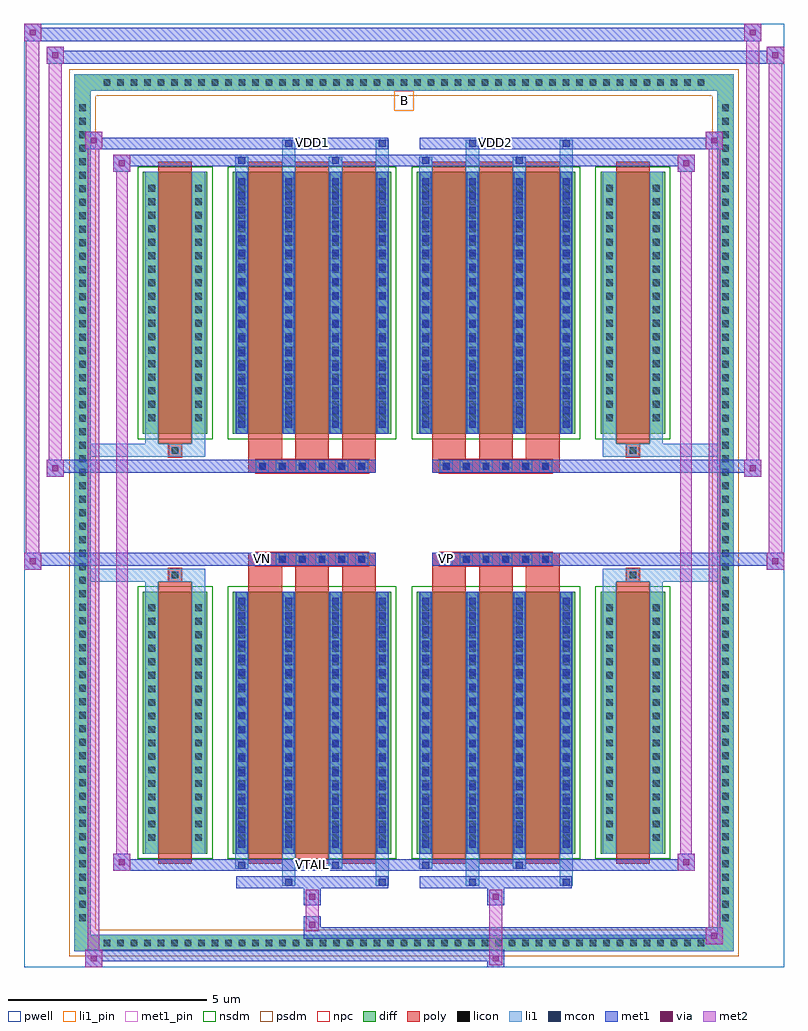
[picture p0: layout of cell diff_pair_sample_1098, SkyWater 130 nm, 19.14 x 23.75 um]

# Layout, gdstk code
import gdstk
lib = gdstk.Library(unit=1e-6, precision=5e-09)
def R(c, l, rs):  # rectangles x0, y0, x1, y1
    for r in rs: c.add(gdstk.rectangle(r[:2], r[2:], *l))
def A(c, l, x, y, w, h, nx, ny, dx, dy):  # array of equal rectangles
    R(c, l, [(x+i*dx, y+j*dy, x+i*dx+w, y+j*dy+h) for i in range(nx) for j in range(ny)])
def P(c, l, *ps):  # polygons
    for p in ps: c.add(gdstk.Polygon(p, *l))
pwell = (64, 44)
diff = (65, 20)
poly = (66, 20)
licon = (66, 44)
li1_pin = (67, 16)
li1 = (67, 20)
mcon = (67, 44)
met1_pin = (68, 16)
met1 = (68, 20)
via = (68, 44)
met2 = (69, 20)
nsdm = (93, 44)
psdm = (94, 20)
npc = (95, 20)

diff_pair_sample_1098 = lib.new_cell('diff_pair_sample_1098')
R(diff_pair_sample_1098, pwell, [(-9.57,-11.44,9.57,12.31), (-6.89,-9.63,-0.01,-0.805), (0.01,-9.63,6.89,-0.805), (-6.89,0.805,-0.01,9.63), (0.01,0.805,6.89,9.63)])
A(diff_pair_sample_1098, diff, -7.685, -11.04, 0.41, 0.41, 45, 2, 0.34, 21.67)
A(diff_pair_sample_1098, diff, -8.3, -10.405, 0.41, 0.41, 1, 61, 0, 0.34)
A(diff_pair_sample_1098, diff, 7.89, -10.405, 0.41, 0.41, 1, 61, 0, 0.34)
R(diff_pair_sample_1098, diff, [(-7.685,-11.04,7.685,-10.63), (-8.3,-10.405,-7.89,10.405), (7.89,-10.405,8.3,10.405), (-6.58,-8.585,-4.95,-1.985), (-4.31,-8.585,-0.32,-1.985), (0.32,-8.585,4.31,-1.985), (4.95,-8.585,6.58,-1.985), (-6.58,1.985,-4.95,8.585), (-4.31,1.985,-0.32,8.585), (0.32,1.985,4.31,8.585), (4.95,1.985,6.58,8.585), (-7.685,10.63,7.685,11.04)])
P(diff_pair_sample_1098, diff, [(8.3,11.04),(-8.3,11.04),(-8.3,-10.63),(-7.89,-10.63),(-7.89,10.63),(7.89,10.63),(7.89,-10.63),(-7.89,-10.63),(-8.3,-10.63),(-8.3,-11.04),(8.3,-11.04)])
A(diff_pair_sample_1098, poly, -3.92, -8.835, 0.85, 7.1, 3, 2, 1.18, 10.57)
A(diff_pair_sample_1098, poly, 0.71, -8.835, 0.85, 7.1, 3, 2, 1.18, 10.57)
A(diff_pair_sample_1098, poly, -3.92, -1.735, 0.85, 0.4, 3, 2, 1.18, 3.07)
A(diff_pair_sample_1098, poly, 0.71, -1.735, 0.85, 0.4, 3, 2, 1.18, 3.07)
A(diff_pair_sample_1098, poly, -3.73, -1.335, 0.33, 0.33, 6, 2, 0.5, 2.34)
A(diff_pair_sample_1098, poly, 0.9, -1.335, 0.33, 0.33, 6, 2, 0.5, 2.34)
R(diff_pair_sample_1098, poly, [(-6.19,-8.835,-5.34,-1.735), (5.34,-8.835,6.19,-1.735), (-5.93,-1.735,-5.6,-1.405), (-5.93,-1.735,-5.6,-1.405), (5.6,-1.735,5.93,-1.405), (5.6,-1.735,5.93,-1.405), (-3.92,-1.335,-0.71,-1.005), (0.71,-1.335,3.92,-1.005), (-3.92,1.005,-0.71,1.335), (0.71,1.005,3.92,1.335), (-5.93,1.405,-5.6,1.735), (-5.93,1.405,-5.6,1.735), (5.6,1.405,5.93,1.735), (5.6,1.405,5.93,1.735), (-6.19,1.735,-5.34,8.835), (5.34,1.735,6.19,8.835)])
A(diff_pair_sample_1098, licon, -7.565, -10.92, 0.17, 0.17, 45, 2, 0.34, 21.67)
A(diff_pair_sample_1098, licon, -8.18, -10.285, 0.17, 0.17, 1, 61, 0, 0.34)
A(diff_pair_sample_1098, licon, 8.01, -10.285, 0.17, 0.17, 1, 61, 0, 0.34)
A(diff_pair_sample_1098, licon, -6.44, -8.26, 0.17, 0.17, 1, 18, 0, 0.34)
A(diff_pair_sample_1098, licon, -5.26, -8.26, 0.17, 0.17, 1, 18, 0, 0.34)
A(diff_pair_sample_1098, licon, -4.17, -8.26, 0.17, 0.17, 4, 18, 1.18, 0.34)
A(diff_pair_sample_1098, licon, 0.46, -8.26, 0.17, 0.17, 4, 18, 1.18, 0.34)
A(diff_pair_sample_1098, licon, 5.09, -8.26, 0.17, 0.17, 1, 18, 0, 0.34)
A(diff_pair_sample_1098, licon, 6.27, -8.26, 0.17, 0.17, 1, 18, 0, 0.34)
A(diff_pair_sample_1098, licon, -3.65, -1.255, 0.17, 0.17, 6, 2, 0.5, 2.34)
A(diff_pair_sample_1098, licon, 0.98, -1.255, 0.17, 0.17, 6, 2, 0.5, 2.34)
A(diff_pair_sample_1098, licon, -6.44, 2.31, 0.17, 0.17, 1, 18, 0, 0.34)
A(diff_pair_sample_1098, licon, -5.26, 2.31, 0.17, 0.17, 1, 18, 0, 0.34)
A(diff_pair_sample_1098, licon, -4.17, 2.31, 0.17, 0.17, 4, 18, 1.18, 0.34)
A(diff_pair_sample_1098, licon, 0.46, 2.31, 0.17, 0.17, 4, 18, 1.18, 0.34)
A(diff_pair_sample_1098, licon, 5.09, 2.31, 0.17, 0.17, 1, 18, 0, 0.34)
A(diff_pair_sample_1098, licon, 6.27, 2.31, 0.17, 0.17, 1, 18, 0, 0.34)
R(diff_pair_sample_1098, licon, [(-5.85,-1.655,-5.68,-1.485), (5.68,-1.655,5.85,-1.485), (-5.85,1.485,-5.68,1.655), (5.68,1.485,5.85,1.655)])
R(diff_pair_sample_1098, li1_pin, [(-0.25,10.13,0.25,10.63)])
A(diff_pair_sample_1098, li1, -7.645, -11, 0.33, 0.33, 45, 2, 0.34, 21.67)
A(diff_pair_sample_1098, li1, -8.26, -10.365, 0.33, 0.33, 1, 61, 0, 0.34)
A(diff_pair_sample_1098, li1, 7.93, -10.365, 0.33, 0.33, 1, 61, 0, 0.34)
A(diff_pair_sample_1098, li1, -4.25, -8.585, 0.33, 6.6, 4, 2, 1.18, 10.57)
A(diff_pair_sample_1098, li1, 0.38, -8.585, 0.33, 6.6, 4, 2, 1.18, 10.57)
A(diff_pair_sample_1098, li1, -4.17, -8.43, 0.17, 0.17, 4, 18, 1.18, 0.36)
A(diff_pair_sample_1098, li1, -4.17, -8.43, 0.17, 6.29, 4, 2, 1.18, 10.57)
A(diff_pair_sample_1098, li1, 0.46, -8.43, 0.17, 0.17, 4, 18, 1.18, 0.36)
A(diff_pair_sample_1098, li1, 0.46, -8.43, 0.17, 6.29, 4, 2, 1.18, 10.57)
A(diff_pair_sample_1098, li1, -6.52, -8.34, 0.33, 0.33, 1, 18, 0, 0.34)
A(diff_pair_sample_1098, li1, -5.34, -8.34, 0.33, 0.33, 1, 18, 0, 0.34)
A(diff_pair_sample_1098, li1, -4.25, -8.34, 0.33, 0.33, 4, 18, 1.18, 0.34)
A(diff_pair_sample_1098, li1, 0.38, -8.34, 0.33, 0.33, 4, 18, 1.18, 0.34)
A(diff_pair_sample_1098, li1, 5.01, -8.34, 0.33, 0.33, 1, 18, 0, 0.34)
A(diff_pair_sample_1098, li1, 6.19, -8.34, 0.33, 0.33, 1, 18, 0, 0.34)
A(diff_pair_sample_1098, li1, -3.73, -1.335, 0.33, 0.33, 6, 2, 0.5, 2.34)
A(diff_pair_sample_1098, li1, 0.9, -1.335, 0.33, 0.33, 6, 2, 0.5, 2.34)
A(diff_pair_sample_1098, li1, -4.17, 2.14, 0.17, 0.17, 4, 18, 1.18, 0.36)
A(diff_pair_sample_1098, li1, 0.46, 2.14, 0.17, 0.17, 4, 18, 1.18, 0.36)
A(diff_pair_sample_1098, li1, -6.52, 2.23, 0.33, 0.33, 1, 18, 0, 0.34)
A(diff_pair_sample_1098, li1, -5.34, 2.23, 0.33, 0.33, 1, 18, 0, 0.34)
A(diff_pair_sample_1098, li1, -4.25, 2.23, 0.33, 0.33, 4, 18, 1.18, 0.34)
A(diff_pair_sample_1098, li1, 0.38, 2.23, 0.33, 0.33, 4, 18, 1.18, 0.34)
A(diff_pair_sample_1098, li1, 5.01, 2.23, 0.33, 0.33, 1, 18, 0, 0.34)
A(diff_pair_sample_1098, li1, 6.19, 2.23, 0.33, 0.33, 1, 18, 0, 0.34)
R(diff_pair_sample_1098, li1, [(-8.3,-11.04,-7.89,-10.63), (-8.3,-11.04,-7.89,-10.63), (-7.89,-11.04,7.89,-10.63), (7.89,-11.04,8.3,-10.63), (7.89,-11.04,8.3,-10.63), (-8.3,-10.63,-7.89,10.63), (7.89,-10.63,8.3,10.63), (-3.07,-9.39,-2.74,-8.585), (-2.99,-9.39,-2.82,-9.22), (-0.71,-9.39,-0.38,-8.585), (-0.63,-9.39,-0.46,-9.22), (1.56,-9.39,1.89,-8.585), (1.64,-9.39,1.81,-9.22), (3.92,-9.39,4.25,-8.585), (4,-9.39,4.17,-9.22), (-4.25,-8.96,-3.92,-8.585), (-4.17,-8.96,-4,-8.79), (-1.89,-8.96,-1.56,-8.585), (-1.81,-8.96,-1.64,-8.79), (0.38,-8.96,0.71,-8.585), (0.46,-8.96,0.63,-8.79), (2.74,-8.96,3.07,-8.585), (2.82,-8.96,2.99,-8.79), (-6.52,-8.585,-6.19,-1.985), (-5.34,-8.585,-5.01,-1.985), (5.01,-8.585,5.34,-1.985), (6.19,-8.585,6.52,-1.985), (-6.52,-1.985,-6.19,-1.405), (-5.34,-1.985,-5.01,-1.405), (5.01,-1.985,5.34,-1.405), (6.19,-1.985,6.52,-1.405), (-8.3,-1.735,-5.93,-1.405), (-6.52,-1.735,-5.93,-1.405), (-5.93,-1.735,-5.6,-1.405), (-5.6,-1.735,-5.01,-1.405), (5.01,-1.735,5.6,-1.405), (5.6,-1.735,5.93,-1.405), (5.6,-1.735,8.3,-1.405), (5.93,-1.735,6.52,-1.405), (-8.3,1.405,-5.93,1.735), (-6.52,1.405,-5.93,1.735), (-6.52,1.405,-6.19,1.985), (-5.93,1.405,-5.6,1.735), (-5.6,1.405,-5.01,1.735), (-5.34,1.405,-5.01,1.985), (5.01,1.405,5.6,1.735), (5.01,1.405,5.34,1.985), (5.6,1.405,5.93,1.735), (5.6,1.405,8.3,1.735), (5.93,1.405,6.52,1.735), (6.19,1.405,6.52,1.985), (-6.52,1.985,-6.19,8.585), (-5.34,1.985,-5.01,8.585), (5.01,1.985,5.34,8.585), (6.19,1.985,6.52,8.585), (-4.25,8.585,-3.92,8.96), (-3.07,8.585,-2.74,9.39), (-1.89,8.585,-1.56,8.96), (-0.71,8.585,-0.38,9.39), (0.38,8.585,0.71,8.96), (1.56,8.585,1.89,9.39), (2.74,8.585,3.07,8.96), (3.92,8.585,4.25,9.39), (-4.17,8.79,-4,8.96), (-1.81,8.79,-1.64,8.96), (0.46,8.79,0.63,8.96), (2.82,8.79,2.99,8.96), (-2.99,9.22,-2.82,9.39), (-0.63,9.22,-0.46,9.39), (1.64,9.22,1.81,9.39), (4,9.22,4.17,9.39), (-8.3,10.63,-7.89,11.04), (-8.3,10.63,-7.89,11.04), (-7.89,10.63,7.89,11.04), (7.89,10.63,8.3,11.04), (7.89,10.63,8.3,11.04)])
A(diff_pair_sample_1098, mcon, -4.17, -8.43, 0.17, 0.17, 4, 18, 1.18, 0.36)
A(diff_pair_sample_1098, mcon, 0.46, -8.43, 0.17, 0.17, 4, 18, 1.18, 0.36)
A(diff_pair_sample_1098, mcon, -3.65, -1.255, 0.17, 0.17, 6, 2, 0.5, 2.34)
A(diff_pair_sample_1098, mcon, 0.98, -1.255, 0.17, 0.17, 6, 2, 0.5, 2.34)
A(diff_pair_sample_1098, mcon, -4.17, 2.14, 0.17, 0.17, 4, 18, 1.18, 0.36)
A(diff_pair_sample_1098, mcon, 0.46, 2.14, 0.17, 0.17, 4, 18, 1.18, 0.36)
R(diff_pair_sample_1098, mcon, [(-2.99,-9.39,-2.82,-9.22), (-0.63,-9.39,-0.46,-9.22), (1.64,-9.39,1.81,-9.22), (4,-9.39,4.17,-9.22), (-4.17,-8.96,-4,-8.79), (-1.81,-8.96,-1.64,-8.79), (0.46,-8.96,0.63,-8.79), (2.82,-8.96,2.99,-8.79), (-4.17,8.79,-4,8.96), (-1.81,8.79,-1.64,8.96), (0.46,8.79,0.63,8.96), (2.82,8.79,2.99,8.96), (-2.99,9.22,-2.82,9.39), (-0.63,9.22,-0.46,9.39), (1.64,9.22,1.81,9.39), (4,9.22,4.17,9.39)])
R(diff_pair_sample_1098, met1_pin, [(-2.45,-9,-2.18,-8.73), (-3.7,-1.295,-3.43,-1.025), (0.93,-1.295,1.2,-1.025), (-2.45,9.18,-2.18,9.45), (2.18,9.18,2.45,9.45)])
A(diff_pair_sample_1098, met1, -4.23, -8.585, 0.29, 6.6, 4, 2, 1.18, 10.57)
A(diff_pair_sample_1098, met1, 0.4, -8.585, 0.29, 6.6, 4, 2, 1.18, 10.57)
A(diff_pair_sample_1098, met1, -4.23, -8.49, 0.29, 0.29, 4, 18, 1.18, 0.36)
A(diff_pair_sample_1098, met1, 0.4, -8.49, 0.29, 0.29, 4, 18, 1.18, 0.36)
A(diff_pair_sample_1098, met1, -3.71, -1.315, 0.29, 0.29, 6, 2, 0.5, 2.34)
A(diff_pair_sample_1098, met1, 0.92, -1.315, 0.29, 0.29, 6, 2, 0.5, 2.34)
A(diff_pair_sample_1098, met1, -4.23, 2.08, 0.29, 0.29, 4, 18, 1.18, 0.36)
A(diff_pair_sample_1098, met1, 0.4, 2.08, 0.29, 0.29, 4, 18, 1.18, 0.36)
R(diff_pair_sample_1098, met1, [(-8.03,-11.44,-7.6,-11.01), (2.1,-11.44,2.53,-11.01), (-8.03,-11.3,2.53,-11.01), (7.6,-10.87,8.03,-10.44), (-2.53,-10.73,8.03,-10.44), (-2.53,-10.59,-2.1,-10.16), (-2.53,-9.88,-2.1,-9.45), (2.1,-9.88,2.53,-9.45), (-4.23,-9.45,-0.4,-9.16), (-3.05,-9.45,-2.76,-9.16), (-0.69,-9.45,-0.4,-9.16), (0.4,-9.45,4.23,-9.16), (1.58,-9.45,1.87,-9.16), (3.94,-9.45,4.23,-9.16), (-7.32,-9.02,-6.89,-8.59), (-7.32,-9.02,-4.23,-8.73), (-4.23,-9.02,-3.94,-8.73), (-4.23,-9.02,-0.4,-8.73), (-1.87,-9.02,-1.58,-8.73), (-0.4,-9.02,0.4,-8.73), (0.4,-9.02,0.69,-8.73), (0.4,-9.02,4.23,-8.73), (2.76,-9.02,3.05,-8.73), (4.23,-9.02,7.32,-8.73), (6.89,-9.02,7.32,-8.59), (-9.57,-1.435,-9.14,-1.005), (9.14,-1.435,9.57,-1.005), (-9.57,-1.335,-0.71,-1.005), (-3.92,-1.335,-0.71,-1.005), (0.71,-1.335,3.92,-1.005), (0.71,-1.335,9.57,-1.005), (-9,0.905,-8.57,1.335), (8.57,0.905,9,1.335), (-9,1.005,-3.92,1.335), (-3.92,1.005,-0.71,1.335), (0.71,1.005,3.92,1.335), (3.92,1.005,9,1.335), (-7.32,8.59,-6.89,9.02), (6.89,8.59,7.32,9.02), (-7.32,8.73,-4.23,9.02), (-4.23,8.73,-3.94,9.02), (-4.23,8.73,-0.4,9.02), (-1.87,8.73,-1.58,9.02), (-0.4,8.73,0.4,9.02), (0.4,8.73,0.69,9.02), (0.4,8.73,4.23,9.02), (2.76,8.73,3.05,9.02), (4.23,8.73,7.32,9.02), (-8.03,9.16,-7.6,9.59), (-8.03,9.16,-4.23,9.45), (-4.23,9.16,-0.4,9.45), (-3.05,9.16,-2.76,9.45), (-0.69,9.16,-0.4,9.45), (0.4,9.16,4.23,9.45), (1.58,9.16,1.87,9.45), (3.94,9.16,4.23,9.45), (4.23,9.16,8.03,9.45), (7.6,9.16,8.03,9.59), (-9,11.31,-8.57,11.74), (-9,11.31,-6.89,11.64), (-6.89,11.31,6.89,11.64), (6.89,11.31,9.57,11.64), (9.14,11.31,9.57,11.74), (-9.57,11.88,-9.14,12.31), (-9.57,11.88,-6.89,12.21), (-6.89,11.88,6.89,12.21), (6.89,11.88,9,12.21), (8.57,11.88,9,12.31)])
R(diff_pair_sample_1098, via, [(-7.89,-11.3,-7.74,-11.15), (2.24,-11.3,2.39,-11.15), (7.74,-10.73,7.89,-10.58), (-2.39,-10.45,-2.24,-10.3), (-2.39,-9.74,-2.24,-9.59), (2.24,-9.74,2.39,-9.59), (-7.18,-8.88,-7.03,-8.73), (7.03,-8.88,7.18,-8.73), (-9.43,-1.295,-9.28,-1.145), (9.28,-1.295,9.43,-1.145), (-8.86,1.045,-8.71,1.195), (8.71,1.045,8.86,1.195), (-7.18,8.73,-7.03,8.88), (7.03,8.73,7.18,8.88), (-7.89,9.3,-7.74,9.45), (7.74,9.3,7.89,9.45), (-8.86,11.45,-8.71,11.6), (9.28,11.45,9.43,11.6), (-9.43,12.02,-9.28,12.17), (8.71,12.02,8.86,12.17)])
R(diff_pair_sample_1098, met2, [(-8.03,-11.44,-7.6,-11.01), (-7.96,-11.44,-7.67,9.59), (-7.67,-11.44,-7.6,-11.01), (-7.98,-11.39,-7.65,-11.06), (2.15,-11.39,2.48,-11.06), (2.15,-11.06,2.48,-9.83), (7.6,-10.87,8.03,-10.44), (7.67,-10.87,7.96,9.59), (7.96,-10.87,8.03,-10.44), (7.65,-10.82,7.98,-10.49), (-2.48,-10.54,-2.15,-10.21), (-2.48,-10.21,-2.15,-9.83), (-2.48,-9.83,-2.15,-9.5), (2.15,-9.83,2.48,-9.5), (-7.32,-9.02,-6.89,-8.59), (-7.25,-9.02,-6.96,9.02), (-6.96,-9.02,-6.89,-8.59), (6.89,-9.02,7.32,-8.59), (6.96,-9.02,7.25,9.02), (7.25,-9.02,7.32,-8.59), (-7.27,-8.97,-6.94,-8.64), (6.94,-8.97,7.27,-8.64), (-9.57,-1.435,-9.14,-1.005), (-9.52,-1.435,-9.19,12.31), (-9.19,-1.435,-9.14,-1.005), (9.14,-1.435,9.57,-1.005), (9.19,-1.435,9.52,11.74), (9.52,-1.435,9.57,-1.005), (-9.52,-1.385,-9.19,-1.055), (9.19,-1.385,9.52,-1.055), (-9,0.905,-8.57,1.335), (-8.95,0.905,-8.62,11.74), (-8.62,0.905,-8.57,1.335), (8.57,0.905,9,1.335), (8.62,0.905,8.95,12.31), (8.95,0.905,9,1.335), (-8.95,0.955,-8.62,1.285), (8.62,0.955,8.95,1.285), (-7.32,8.59,-6.89,9.02), (-6.96,8.59,-6.89,9.02), (6.89,8.59,7.32,9.02), (7.25,8.59,7.32,9.02), (-7.27,8.64,-6.94,8.97), (6.94,8.64,7.27,8.97), (-8.03,9.16,-7.6,9.59), (-7.67,9.16,-7.6,9.59), (7.6,9.16,8.03,9.59), (7.96,9.16,8.03,9.59), (-7.98,9.21,-7.65,9.54), (7.65,9.21,7.98,9.54), (-9,11.31,-8.57,11.74), (-8.62,11.31,-8.57,11.74), (9.14,11.31,9.57,11.74), (9.52,11.31,9.57,11.74), (-8.95,11.36,-8.62,11.69), (9.19,11.36,9.52,11.69), (-9.57,11.88,-9.14,12.31), (-9.19,11.88,-9.14,12.31), (8.57,11.88,9,12.31), (8.95,11.88,9,12.31), (-9.52,11.93,-9.19,12.26), (8.62,11.93,8.95,12.26)])
R(diff_pair_sample_1098, nsdm, [(-6.71,-8.715,-4.82,-1.855), (-4.44,-8.715,-0.19,-1.855), (0.19,-8.715,4.44,-1.855), (4.82,-8.715,6.71,-1.855), (-6.71,1.855,-4.82,8.715), (-4.44,1.855,-0.19,8.715), (0.19,1.855,4.44,8.715), (4.82,1.855,6.71,8.715)])
P(diff_pair_sample_1098, psdm, [(8.43,11.17),(-8.43,11.17),(-8.43,-10.5),(-7.76,-10.5),(-7.76,10.5),(7.76,10.5),(7.76,-10.5),(-7.76,-10.5),(-8.43,-10.5),(-8.43,-11.17),(8.43,-11.17)])
A(diff_pair_sample_1098, npc, -3.75, -1.355, 0.37, 0.37, 6, 2, 0.5, 2.34)
A(diff_pair_sample_1098, npc, 0.88, -1.355, 0.37, 0.37, 6, 2, 0.5, 2.34)
R(diff_pair_sample_1098, npc, [(-5.95,-1.755,-5.58,-1.385), (5.58,-1.755,5.95,-1.385), (-3.75,-1.355,-2.88,-0.985), (-3.75,-1.355,-2.88,-0.985), (-3.25,-1.355,-2.38,-0.985), (-3.25,-1.355,-2.38,-0.985), (-2.75,-1.355,-1.88,-0.985), (-2.75,-1.355,-1.88,-0.985), (-2.25,-1.355,-1.38,-0.985), (-2.25,-1.355,-1.38,-0.985), (-1.75,-1.355,-0.88,-0.985), (-1.75,-1.355,-0.88,-0.985), (0.88,-1.355,1.75,-0.985), (0.88,-1.355,1.75,-0.985), (1.38,-1.355,2.25,-0.985), (1.38,-1.355,2.25,-0.985), (1.88,-1.355,2.75,-0.985), (1.88,-1.355,2.75,-0.985), (2.38,-1.355,3.25,-0.985), (2.38,-1.355,3.25,-0.985), (2.88,-1.355,3.75,-0.985), (2.88,-1.355,3.75,-0.985), (-3.75,0.985,-2.88,1.355), (-3.75,0.985,-2.88,1.355), (-3.25,0.985,-2.38,1.355), (-3.25,0.985,-2.38,1.355), (-2.75,0.985,-1.88,1.355), (-2.75,0.985,-1.88,1.355), (-2.25,0.985,-1.38,1.355), (-2.25,0.985,-1.38,1.355), (-1.75,0.985,-0.88,1.355), (-1.75,0.985,-0.88,1.355), (0.88,0.985,1.75,1.355), (0.88,0.985,1.75,1.355), (1.38,0.985,2.25,1.355), (1.38,0.985,2.25,1.355), (1.88,0.985,2.75,1.355), (1.88,0.985,2.75,1.355), (2.38,0.985,3.25,1.355), (2.38,0.985,3.25,1.355), (2.88,0.985,3.75,1.355), (2.88,0.985,3.75,1.355), (-5.95,1.385,-5.58,1.755), (5.58,1.385,5.95,1.755)])
diff_pair_sample_1098.add(gdstk.Label('VTAIL', (-2.315,-8.865), layer=68, texttype=5))
diff_pair_sample_1098.add(gdstk.Label('VN', (-3.565,-1.16), layer=68, texttype=5))
diff_pair_sample_1098.add(gdstk.Label('VP', (1.065,-1.16), layer=68, texttype=5))
diff_pair_sample_1098.add(gdstk.Label('B', (0,10.38), layer=67, texttype=5))
diff_pair_sample_1098.add(gdstk.Label('VDD2', (2.315,9.315), layer=68, texttype=5))
diff_pair_sample_1098.add(gdstk.Label('VDD1', (-2.315,9.315), layer=68, texttype=5))

lib.write_gds('diff_pair_sample_1098.gds')
